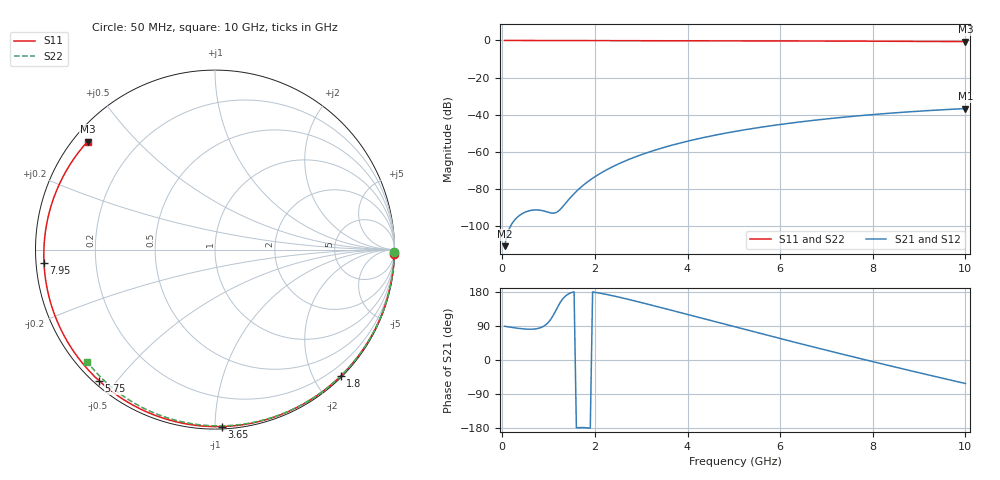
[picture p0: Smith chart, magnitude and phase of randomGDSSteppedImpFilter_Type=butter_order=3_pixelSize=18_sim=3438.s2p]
! freq	dB(S11)	phase(S11)	dB(S12)	phase(S12)
!  dB(S21)	phase(S21)	dB(S22)	phase(S22)
!S-par simulation data
#  GHz  S  DB  R 50
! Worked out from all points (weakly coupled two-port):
!   200 points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, 50 MHz to 10 GHz, reference 50 ohm
!   highest |S21| = -36.70 dB at 10 GHz (marker M1); lowest = -110.8 dB at 50 MHz (marker M2)
!   lowest |S11| = -0.6 dB at 10 GHz (marker M3), VSWR 28.03, Z = 2.02 + j18.3 ohm
!   |S11| at or under -10 dB: nowhere
!   |S22| runs from -0.5 to 0.0 dB; largest |S21 - S12| = 0
!   S11 on the Smith chart (normalised r, x): 50 MHz: 0, -89; 1.8 GHz: 0.02, -2.41; 3.65 GHz: 0.01, -1.04; 5.75 GHz: 0.01, -0.45; 7.95 GHz: 0.02, -0.04; 10 GHz: 0.04, +0.37
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0.05  -0.00 -1.3  -110.80 89.0  -110.80 89.0  -0.00 -0.8
0.4  -0.01 -10.2  -93.74 82.8  -93.74 82.8  -0.01 -6.4
0.8  -0.03 -20.3  -91.37 84.2  -91.37 84.2  -0.02 -12.7
1.2  -0.04 -30.4  -92.14 141.1  -92.14 141.1  -0.02 -19.1
1.65  -0.05 -41.5  -80.11 -178.5  -80.11 -178.5  -0.03 -26.1
1.75  -0.06 -43.9  -77.95 -178.4  -77.95 -178.4  -0.04 -27.7
1.8  -0.06 -45.1  -76.95 -178.7  -76.95 -178.7  -0.04 -28.4
2.1  -0.07 -52.3  -71.84 176.6  -71.84 176.6  -0.04 -33.1
2.5  -0.08 -61.7  -66.60 166.4  -66.60 166.4  -0.05 -39.2
2.9  -0.09 -71.0  -62.46 154.7  -62.46 154.7  -0.06 -45.2
3.4  -0.11 -82.2  -58.28 139.2  -58.28 139.2  -0.07 -52.6
3.65  -0.12 -87.7  -56.50 131.3  -56.50 131.3  -0.08 -56.3
4.35  -0.14 -102.7  -52.27 108.9  -52.27 108.9  -0.09 -66.3
5.05  -0.18 -117.2  -48.90 86.6  -48.90 86.6  -0.12 -76.1
5.75  -0.22 -131.4  -46.13 64.4  -46.13 64.4  -0.14 -85.5
6.7  -0.28 -150.3  -43.09 34.9  -43.09 34.9  -0.19 -98.0
7.35  -0.34 -163.3  -41.38 15.1  -41.38 15.1  -0.23 -106.2
7.95  -0.39 -175.4  -40.02 -2.8  -40.02 -2.8  -0.27 -113.7
8.35  -0.43 176.3  -39.22 -14.7  -39.22 -14.7  -0.30 -118.6
8.8  -0.48 166.7  -38.41 -27.8  -38.41 -27.8  -0.34 -124.1
9.2  -0.53 158.0  -37.77 -39.4  -37.77 -39.4  -0.38 -129.0
10  -0.62 139.7  -36.70 -62.0  -36.70 -62.0  -0.47 -138.7
